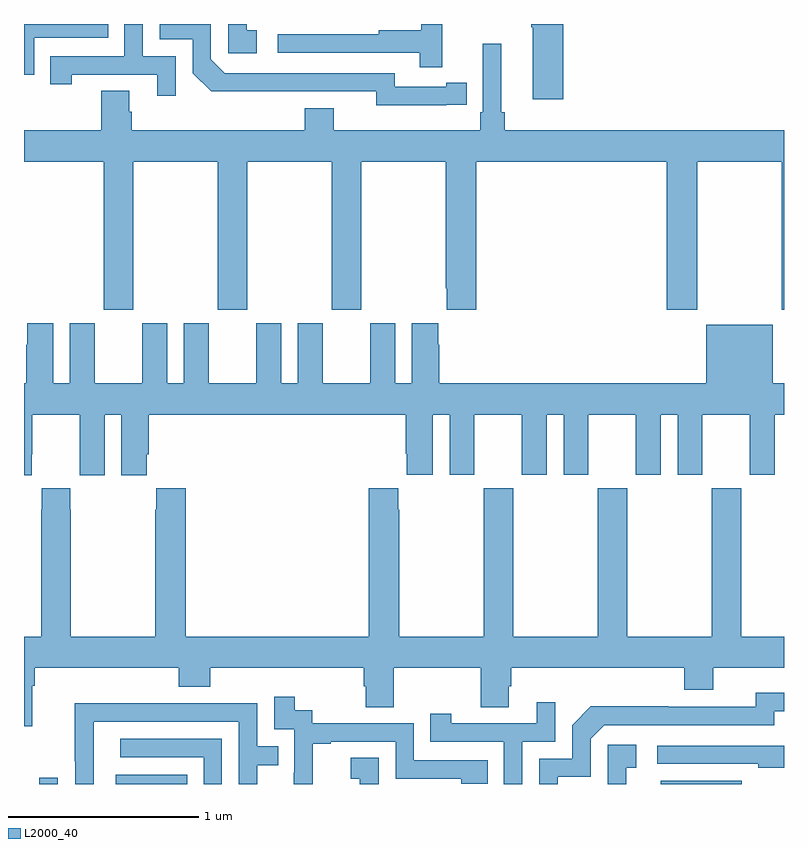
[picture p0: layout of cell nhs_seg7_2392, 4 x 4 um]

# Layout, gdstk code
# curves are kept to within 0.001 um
import gdstk
lib = gdstk.Library(unit=1e-6, precision=1e-09)
def R(c, l, rs):  # rectangles x0, y0, x1, y1
    for r in rs: c.add(gdstk.rectangle(r[:2], r[2:], *l))
def P(c, l, *ps):  # polygons
    for p in ps: c.add(gdstk.Polygon(p, *l))
L2000_40 = (2000, 40)

nhs_seg7_2392 = lib.new_cell('nhs_seg7_2392')
R(nhs_seg7_2392, L2000_40, [(267.081,1004,267.177,1004.032), (267.482,1004,267.86,1004.05), (270.35,1004,270.778,1004.017)])
P(nhs_seg7_2392, L2000_40, [(268.225,1007.967),(268.172,1007.967),(268.172,1008),(268.074,1008),(268.074,1007.847),(268.225,1007.847)],
  [(267.798,1007.829),(267.624,1007.829),(267.624,1008),(267.528,1008),(267.528,1007.829),(267.139,1007.829),(267.139,1007.682),(267.25,1007.682),(267.25,1007.733),(267.701,1007.733),(267.701,1007.622),(267.798,1007.622)],
  [(267.054,1007.928),(267.443,1007.928),(267.443,1008),(267,1008),(267,1007.733),(267.054,1007.733)],
  [(269.837,1008),(269.671,1008),(269.671,1007.983),(269.678,1007.983),(269.678,1007.604),(269.837,1007.604)],
  [(269.201,1008),(269.091,1008),(269.091,1007.966),(268.867,1007.966),(268.867,1007.946),(268.335,1007.946),(268.335,1007.85),(269.083,1007.85),(269.083,1007.772),(269.201,1007.772)],
  [(269.222,1007.574),(269.33,1007.574),(269.33,1007.69),(269.222,1007.69),(269.222,1007.67),(268.95,1007.67),(268.95,1007.742),(268.056,1007.742),(267.984,1007.814),(267.984,1008),(267.714,1008),(267.714,1007.919),(267.888,1007.919),(267.888,1007.742),(267.986,1007.645),(268.854,1007.646),(268.854,1007.573)],
  [(267.576,1007.276),(268.021,1007.276),(268.021,1006.497),(268.176,1006.497),(268.176,1007.276),(268.621,1007.276),(268.621,1006.497),(268.776,1006.497),(268.776,1007.276),(269.221,1007.276),(269.221,1006.609),(269.225,1006.609),(269.225,1006.497),(269.381,1006.497),(269.381,1007.276),(270.383,1007.276),(270.383,1006.497),(270.543,1006.497),(270.543,1007.276),(270.988,1007.276),(270.988,1006.497),(271,1006.497),(271,1007.44),(269.531,1007.44),(269.531,1007.536),(269.512,1007.536),(269.512,1007.896),(269.415,1007.896),(269.415,1007.536),(269.402,1007.536),(269.402,1007.44),(268.63,1007.44),(268.63,1007.557),(268.478,1007.557),(268.478,1007.44),(267.566,1007.44),(267.566,1007.538),(267.553,1007.538),(267.553,1007.648),(267.406,1007.648),(267.406,1007.44),(267,1007.44),(267,1007.276),(267.421,1007.276),(267.421,1006.497),(267.576,1006.497)],
  [(267.042,1005.736),(267.043,1005.736),(267.043,1005.944),(267.293,1005.944),(267.293,1005.736),(267.294,1005.736),(267.294,1005.624),(267.424,1005.624),(267.424,1005.944),(267.512,1005.944),(267.512,1005.624),(267.646,1005.624),(267.646,1005.736),(267.656,1005.736),(267.656,1005.944),(269.009,1005.944),(269.009,1005.739),(269.015,1005.739),(269.015,1005.627),(269.152,1005.627),(269.152,1005.944),(269.24,1005.944),(269.24,1005.627),(269.371,1005.627),(269.371,1005.944),(269.621,1005.944),(269.621,1005.627),(269.752,1005.627),(269.752,1005.944),(269.84,1005.944),(269.84,1005.627),(269.971,1005.627),(269.971,1005.944),(270.221,1005.944),(270.221,1005.627),(270.352,1005.627),(270.352,1005.944),(270.44,1005.944),(270.44,1005.627),(270.571,1005.627),(270.571,1005.944),(270.821,1005.944),(270.821,1005.627),(270.952,1005.627),(270.952,1005.944),(271,1005.944),(271,1006.108),(270.94,1006.108),(270.94,1006.417),(270.59,1006.417),(270.59,1006.108),(269.186,1006.108),(269.186,1006.313),(269.179,1006.313),(269.179,1006.426),(269.042,1006.426),(269.042,1006.108),(268.954,1006.108),(268.954,1006.426),(268.823,1006.426),(268.823,1006.108),(268.573,1006.108),(268.573,1006.426),(268.442,1006.426),(268.442,1006.108),(268.354,1006.108),(268.354,1006.426),(268.223,1006.426),(268.223,1006.108),(267.973,1006.108),(267.973,1006.426),(267.842,1006.426),(267.842,1006.108),(267.754,1006.108),(267.754,1006.426),(267.623,1006.426),(267.623,1006.108),(267.373,1006.108),(267.373,1006.426),(267.242,1006.426),(267.242,1006.108),(267.154,1006.108),(267.154,1006.426),(267.017,1006.426),(267.017,1006.313),(267.011,1006.313),(267.011,1006.108),(267,1006.108),(267,1005.624),(267.042,1005.624)],
  [(267.093,1005.556),(267.093,1005.443),(267.091,1005.443),(267.091,1004.776),(267,1004.776),(267,1004.303),(267.043,1004.303),(267.043,1004.516),(267.056,1004.516),(267.056,1004.612),(267.815,1004.612),(267.815,1004.513),(267.98,1004.513),(267.98,1004.612),(268.787,1004.612),(268.787,1004.514),(268.799,1004.514),(268.799,1004.404),(268.947,1004.404),(268.947,1004.612),(269.404,1004.612),(269.404,1004.404),(269.551,1004.404),(269.551,1004.514),(269.564,1004.514),(269.564,1004.612),(270.476,1004.612),(270.476,1004.495),(270.628,1004.495),(270.628,1004.612),(271,1004.612),(271,1004.776),(270.774,1004.776),(270.774,1005.556),(270.619,1005.556),(270.619,1004.776),(270.174,1004.776),(270.174,1005.556),(270.019,1005.556),(270.019,1004.776),(269.574,1004.776),(269.574,1005.556),(269.419,1005.556),(269.419,1004.776),(268.974,1004.776),(268.974,1005.443),(268.969,1005.443),(268.969,1005.556),(268.814,1005.556),(268.814,1004.776),(267.851,1004.776),(267.851,1005.556),(267.697,1005.556),(267.697,1005.443),(267.691,1005.443),(267.691,1004.776),(267.246,1004.776),(267.246,1005.443),(267.243,1005.443),(267.243,1005.556)],
  [(269.809,1004.037),(269.982,1004.037),(269.982,1004.238),(270.054,1004.31),(270.948,1004.31),(270.948,1004.382),(271,1004.382),(271,1004.479),(270.852,1004.479),(270.852,1004.406),(270.392,1004.406),(270.392,1004.408),(269.984,1004.408),(269.886,1004.31),(269.886,1004.133),(269.712,1004.133),(269.712,1004),(269.809,1004)],
  [(268.52,1004.211),(268.615,1004.211),(268.615,1004.223),(268.956,1004.223),(268.956,1004.028),(269.301,1004.028),(269.301,1004.001),(269.441,1004.001),(269.441,1004.124),(269.052,1004.124),(269.052,1004.319),(268.518,1004.319),(268.518,1004.388),(268.426,1004.388),(268.426,1004.458),(268.317,1004.458),(268.317,1004.289),(268.422,1004.289),(268.422,1004.06),(268.421,1004.06),(268.421,1004),(268.52,1004)],
  [(269.622,1004.223),(269.796,1004.223),(269.796,1004.431),(269.699,1004.431),(269.699,1004.319),(269.248,1004.319),(269.248,1004.371),(269.137,1004.371),(269.137,1004.223),(269.526,1004.223),(269.526,1004),(269.622,1004)],
  [(267.366,1004.328),(268.131,1004.328),(268.131,1004),(268.227,1004),(268.227,1004.098),(268.337,1004.098),(268.337,1004.199),(268.227,1004.199),(268.227,1004.424),(267.731,1004.424),(267.731,1004.426),(267.268,1004.426),(267.268,1004.119),(267.27,1004.119),(267.27,1004),(267.366,1004)],
  [(268.041,1004.238),(267.507,1004.238),(267.507,1004.142),(267.945,1004.142),(267.945,1004),(268.041,1004)],
  [(270.17,1004.085),(270.223,1004.085),(270.223,1004.206),(270.072,1004.206),(270.072,1004),(270.17,1004)],
  [(271,1004.202),(270.333,1004.202),(270.333,1004.106),(270.865,1004.106),(270.865,1004.086),(271,1004.086)],
  [(268.866,1004.137),(268.719,1004.137),(268.719,1004.027),(268.768,1004.027),(268.768,1004),(268.866,1004)])

lib.write_gds('nhs_seg7_2392.gds')
